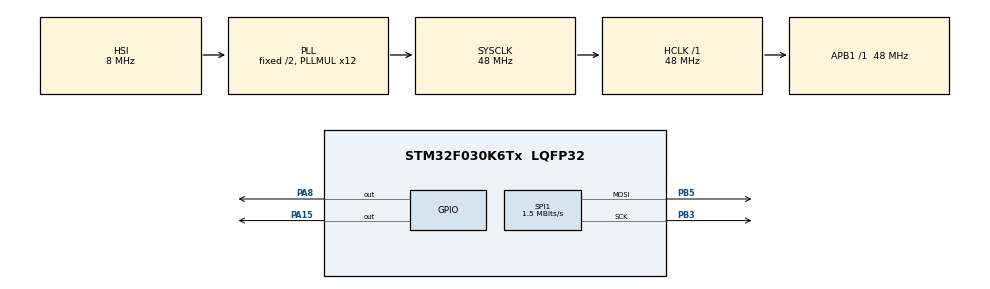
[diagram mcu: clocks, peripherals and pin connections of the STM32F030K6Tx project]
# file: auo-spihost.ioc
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Mcu.Family=STM32F0
Mcu.Name=STM32F030K6Tx
Mcu.Package=LQFP32
PA13.Mode=Serial_Wire
PA13.Signal=SYS_SWDIO
PA14.Mode=Serial_Wire
PA14.Signal=SYS_SWCLK
PA15.PinState=GPIO_PIN_SET
PA15.Signal=GPIO_Output
PA8.Signal=GPIO_Output
PB3.Mode=TX_Only_Simplex_Unidirect_Master
PB3.Signal=SPI1_SCK
PB5.Mode=TX_Only_Simplex_Unidirect_Master
PB5.Signal=SPI1_MOSI
ProjectManager.HeapSize=0x200
ProjectManager.StackSize=0x400
ProjectManager.TargetToolchain=STM32CubeIDE
RCC.AHBFreq_Value=48000000
RCC.APB1Freq_Value=48000000
RCC.APB1TimFreq_Value=48000000
RCC.HCLKFreq_Value=48000000
RCC.PLLMUL=RCC_PLL_MUL12
RCC.SYSCLKFreq_VALUE=48000000
RCC.SYSCLKSource=RCC_SYSCLKSOURCE_PLLCLK
SPI1.BaudRatePrescaler=SPI_BAUDRATEPRESCALER_32
SPI1.CalculateBaudRate=1.5 MBits/s
SPI1.DataSize=SPI_DATASIZE_8BIT
SPI1.Direction=SPI_DIRECTION_2LINES
SPI1.Mode=SPI_MODE_MASTER
SPI1.NSSPMode=SPI_NSS_PULSE_DISABLE
SPI1.VirtualType=VM_MASTER
board=custom

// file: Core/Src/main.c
/* USER CODE BEGIN Header */
/**
  ******************************************************************************
  * @file           : main.c
  * @brief          : Main program body
  ******************************************************************************
  * @attention
  *
  * <h2><center>&copy; Copyright (c) 2022 STMicroelectronics.
  * All rights reserved.</center></h2>
  *
  * This software component is licensed by ST under BSD 3-Clause license,
  * the "License"; You may not use this file except in compliance with the
  * License. You may obtain a copy of the License at:
  *                        opensource.org/licenses/BSD-3-Clause
  *
  ******************************************************************************
  */
/* USER CODE END Header */
#include "main.h"
#include "spi.h"
#include "gpio.h"

void SystemClock_Config(void);

/* USER CODE BEGIN 0 */
void LCD_SPI_Transfer_Packet(uint8_t address, uint8_t command){
    uint8_t buffer[2];
    buffer[0]=address;
    buffer[1]=command;
    HAL_GPIO_TogglePin(GPIOC,GPIO_PIN_13);

    HAL_GPIO_WritePin(GPIOA,GPIO_PIN_15,GPIO_PIN_RESET);
    HAL_SPI_Transmit(&hspi1,&buffer,2,HAL_TIMEOUT);
    HAL_GPIO_WritePin(GPIOA,GPIO_PIN_15,GPIO_PIN_SET);

    HAL_Delay(10);
    HAL_GPIO_TogglePin(GPIOC,GPIO_PIN_13);
}
void LCD_Init(){
    //LCD_SPI_Transfer_Packet(0,0x43);
    LCD_SPI_Transfer_Packet(1,0x97); //0b10111111

    //LCD_SPI_Transfer_Packet(0,0x43);
    LCD_SPI_Transfer_Packet(4,0x0b);
    LCD_SPI_Transfer_Packet(6,0x15);

    //LCD_SPI_Transfer_Packet(21,0x00);
    //LCD_SPI_Transfer_Packet(1,0b10111111);

    LCD_SPI_Transfer_Packet(5,0x5f);

}

/* USER CODE END 0 */

int main(void)
{

  /* MCU Configuration--------------------------------------------------------*/

  /* Reset of all peripherals, Initializes the Flash interface and the Systick. */
  HAL_Init();

  /* Configure the system clock */
  SystemClock_Config();

  /* Initialize all configured peripherals */
  MX_GPIO_Init();
  MX_SPI1_Init();

  /* Infinite loop */
  /* USER CODE BEGIN WHILE */
    HAL_GPIO_WritePin(GPIOA,GPIO_PIN_15,GPIO_PIN_SET);
    HAL_GPIO_WritePin(GPIOA,GPIO_PIN_8,GPIO_PIN_SET);
    HAL_Delay(10);
    LCD_SPI_Transfer_Packet(0x5,0x1e);
    LCD_SPI_Transfer_Packet(0x5,0x5e);
  while (1)
  {
      HAL_Delay(100);
      LCD_Init();
      //LCD_SPI_Transfer_Packet(0x5,0x5f);
      HAL_Delay(100);

//      uint8_t b_[2]={0x5,0x5f,0};
//      HAL_GPIO_WritePin(GPIOA,GPIO_PIN_15,GPIO_PIN_RESET);
//      HAL_SPI_Transmit(&hspi1,&b_,2,HAL_TIMEOUT);
//      HAL_GPIO_WritePin(GPIOA,GPIO_PIN_15,GPIO_PIN_SET);
      //HAL_Delay(1);

      uint8_t b[2]={5|0b01000000,0};
      uint8_t r[5];
      HAL_GPIO_WritePin(GPIOA,GPIO_PIN_15,GPIO_PIN_RESET);
      HAL_SPI_Transmit(&hspi1,&b,1,HAL_TIMEOUT);
      HAL_SPI_Receive(&hspi1,&r,5,HAL_TIMEOUT);
      HAL_GPIO_WritePin(GPIOA,GPIO_PIN_15,GPIO_PIN_SET);

      /* USER CODE END WHILE */

  }
}

void SystemClock_Config(void)
{
  RCC_OscInitTypeDef RCC_OscInitStruct = {0};
  RCC_ClkInitTypeDef RCC_ClkInitStruct = {0};

  /** Initializes the RCC Oscillators according to the specified parameters
  * in the RCC_OscInitTypeDef structure.
  */
  RCC_OscInitStruct.OscillatorType = RCC_OSCILLATORTYPE_HSI;
  RCC_OscInitStruct.HSIState = RCC_HSI_ON;
  RCC_OscInitStruct.HSICalibrationValue = RCC_HSICALIBRATION_DEFAULT;
  RCC_OscInitStruct.PLL.PLLState = RCC_PLL_ON;
  RCC_OscInitStruct.PLL.PLLSource = RCC_PLLSOURCE_HSI;
  RCC_OscInitStruct.PLL.PLLMUL = RCC_PLL_MUL12;
  RCC_OscInitStruct.PLL.PREDIV = RCC_PREDIV_DIV1;
  if (HAL_RCC_OscConfig(&RCC_OscInitStruct) != HAL_OK)
  {
    Error_Handler();
  }
  /** Initializes the CPU, AHB and APB buses clocks
  */
  RCC_ClkInitStruct.ClockType = RCC_CLOCKTYPE_HCLK|RCC_CLOCKTYPE_SYSCLK
                              |RCC_CLOCKTYPE_PCLK1;
  RCC_ClkInitStruct.SYSCLKSource = RCC_SYSCLKSOURCE_PLLCLK;
  RCC_ClkInitStruct.AHBCLKDivider = RCC_SYSCLK_DIV1;
  RCC_ClkInitStruct.APB1CLKDivider = RCC_HCLK_DIV1;

  if (HAL_RCC_ClockConfig(&RCC_ClkInitStruct, FLASH_LATENCY_1) != HAL_OK)
  {
    Error_Handler();
  }
}

void Error_Handler(void)
{
  __disable_irq();
  while (1)
  {
  }
}

/************************ (C) COPYRIGHT STMicroelectronics *****END OF FILE****/
